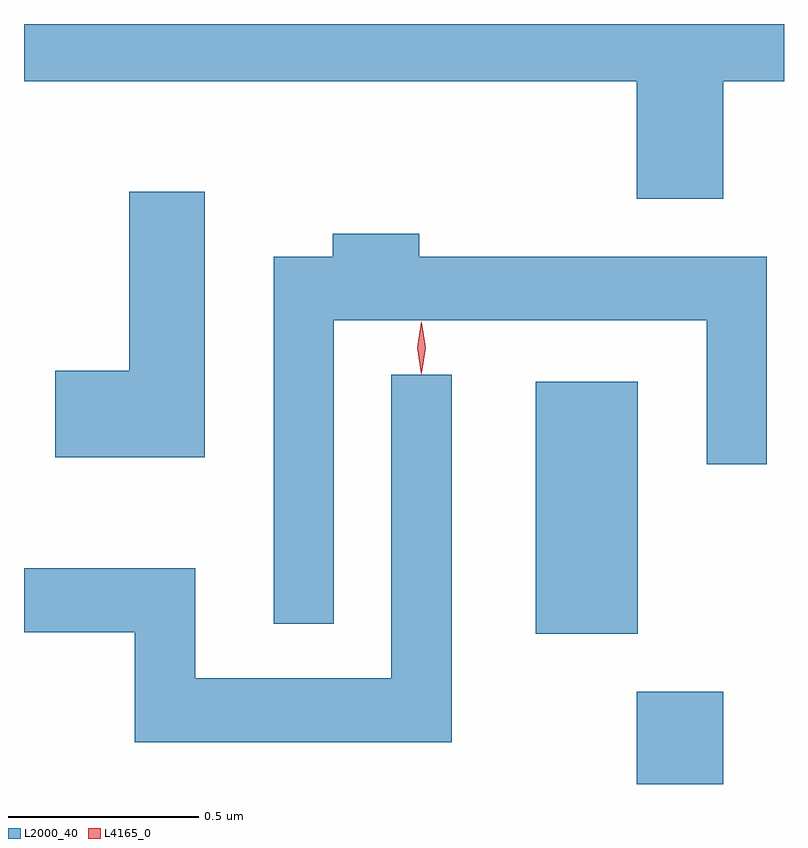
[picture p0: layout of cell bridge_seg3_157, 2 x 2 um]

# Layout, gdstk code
import gdstk
lib = gdstk.Library(unit=1e-6, precision=1e-09)
def R(c, l, rs):  # rectangles x0, y0, x1, y1
    for r in rs: c.add(gdstk.rectangle(r[:2], r[2:], *l))
def P(c, l, *ps):  # polygons
    for p in ps: c.add(gdstk.Polygon(p, *l))
L2000_40 = (2000, 40)
L4165_0 = (4165, 0)

bridge_seg3_157 = lib.new_cell('bridge_seg3_157')
R(bridge_seg3_157, L2000_40, [(888.181,1186.326,888.409,1186.569), (887.916,1186.721,888.184,1187.384)])
P(bridge_seg3_157, L2000_40, [(888.409,1188.176),(888.569,1188.176),(888.569,1188.326),(886.569,1188.326),(886.569,1188.176),(888.181,1188.176),(888.181,1187.866),(888.409,1187.866)],
  [(887.044,1187.884),(886.846,1187.884),(886.846,1187.414),(886.651,1187.414),(886.651,1187.186),(887.044,1187.186)],
  [(887.384,1187.546),(888.366,1187.546),(888.366,1187.168),(888.524,1187.168),(888.524,1187.714),(887.609,1187.714),(887.609,1187.774),(887.381,1187.774),(887.381,1187.714),(887.226,1187.714),(887.226,1186.748),(887.384,1186.748)],
  [(887.694,1187.403),(887.536,1187.403),(887.536,1186.604),(887.019,1186.604),(887.019,1186.894),(886.569,1186.894),(886.569,1186.726),(886.861,1186.726),(886.861,1186.436),(887.694,1186.436)])
P(bridge_seg3_157, L4165_0, [(887.616,1187.407),(887.615,1187.408),(887.606,1187.474),(887.615,1187.54),(887.616,1187.541),(887.616,1187.54),(887.626,1187.474),(887.616,1187.408)],
  [(887.614,1187.404),(887.614,1187.404),(887.604,1187.474),(887.614,1187.543),(887.614,1187.543),(887.615,1187.543),(887.624,1187.474),(887.615,1187.404)])

lib.write_gds('bridge_seg3_157.gds')
